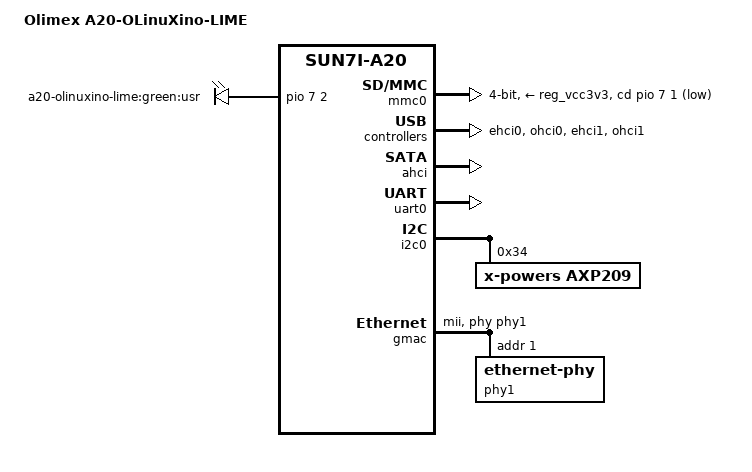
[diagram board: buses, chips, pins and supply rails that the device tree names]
/*
 * This is based on sun4i-a10-olinuxino-lime.dts
 *
 * Copyright 2014 - Hans de Goede <hdegoede@redhat.com>
 * Copyright (c) 2014 FUKAUMI Naoki <naobsd@gmail.com>
 *
 * The code contained herein is licensed under the GNU General Public
 * License. You may obtain a copy of the GNU General Public License
 * Version 2 or later at the following locations:
 *
 * http://www.opensource.org/licenses/gpl-license.html
 * http://www.gnu.org/copyleft/gpl.html
 */

/dts-v1/;
/include/ "sun7i-a20.dtsi"
/include/ "sunxi-common-regulators.dtsi"

/ {
	model = "Olimex A20-OLinuXino-LIME";
	compatible = "olimex,a20-olinuxino-lime", "allwinner,sun7i-a20";

	soc@01c00000 {
		mmc0: mmc@01c0f000 {
			pinctrl-names = "default";
			pinctrl-0 = <&mmc0_pins_a>, <&mmc0_cd_pin_reference_design>;
			vmmc-supply = <&reg_vcc3v3>;
			bus-width = <4>;
			cd-gpios = <&pio 7 1 0>; /* PH1 */
			cd-inverted;
			status = "okay";
		};

		usbphy: phy@01c13400 {
			usb1_vbus-supply = <&reg_usb1_vbus>;
			usb2_vbus-supply = <&reg_usb2_vbus>;
			status = "okay";
		};

		ehci0: usb@01c14000 {
			status = "okay";
		};

		ohci0: usb@01c14400 {
			status = "okay";
		};

		ahci: sata@01c18000 {
			target-supply = <&reg_ahci_5v>;
			status = "okay";
		};

		ehci1: usb@01c1c000 {
			status = "okay";
		};

		ohci1: usb@01c1c400 {
			status = "okay";
		};

		pinctrl@01c20800 {
			ahci_pwr_pin_olinuxinolime: ahci_pwr_pin@1 {
				allwinner,pins = "PC3";
				allwinner,function = "gpio_out";
				allwinner,drive = <0>;
				allwinner,pull = <0>;
			};

			led_pins_olinuxinolime: led_pins@0 {
				allwinner,pins = "PH2";
				allwinner,function = "gpio_out";
				allwinner,drive = <1>;
				allwinner,pull = <0>;
			};
		};

		uart0: serial@01c28000 {
			pinctrl-names = "default";
			pinctrl-0 = <&uart0_pins_a>;
			status = "okay";
		};

		i2c0: i2c@01c2ac00 {
			pinctrl-names = "default";
			pinctrl-0 = <&i2c0_pins_a>;
			status = "okay";

			axp209: pmic@34 {
				compatible = "x-powers,axp209";
				reg = <0x34>;
				interrupt-parent = <&nmi_intc>;
				interrupts = <0 8>;

				interrupt-controller;
				#interrupt-cells = <1>;
			};
		};

		gmac: ethernet@01c50000 {
			pinctrl-names = "default";
			pinctrl-0 = <&gmac_pins_mii_a>;
			phy = <&phy1>;
			phy-mode = "mii";
			status = "okay";

			phy1: ethernet-phy@1 {
				reg = <1>;
			};
		};
	};

	leds {
		compatible = "gpio-leds";
		pinctrl-names = "default";
		pinctrl-0 = <&led_pins_olinuxinolime>;

		green {
			label = "a20-olinuxino-lime:green:usr";
			gpios = <&pio 7 2 0>;
			default-state = "on";
		};
	};

	reg_ahci_5v: ahci-5v {
		pinctrl-0 = <&ahci_pwr_pin_olinuxinolime>;
		gpio = <&pio 2 3 0>;
		status = "okay";
	};

	reg_usb1_vbus: usb1-vbus {
		status = "okay";
	};

	reg_usb2_vbus: usb2-vbus {
		status = "okay";
	};
};
